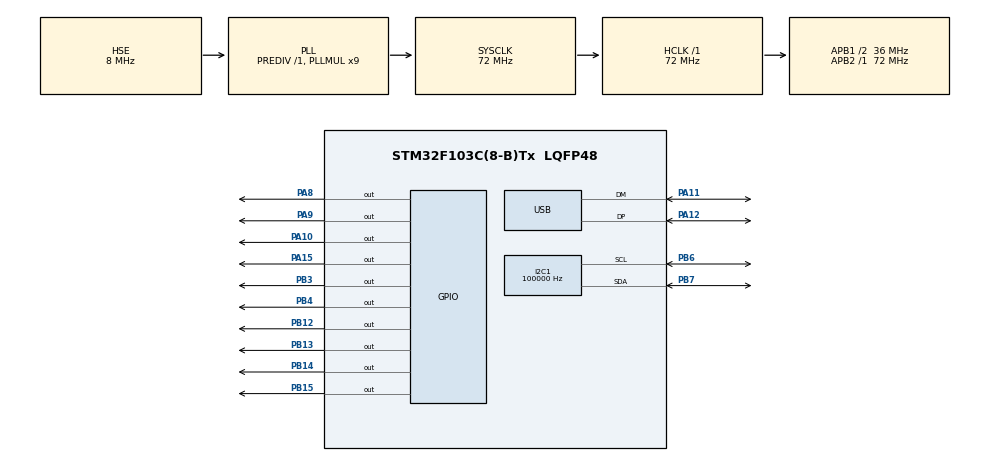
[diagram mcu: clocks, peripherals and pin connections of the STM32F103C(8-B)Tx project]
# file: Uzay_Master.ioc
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I2C1.ClockSpeed=100000
I2C1.I2C_Mode=I2C_Standard
Mcu.Family=STM32F1
Mcu.Name=STM32F103C(8-B)Tx
Mcu.Package=LQFP48
NVIC.I2C1_ER_IRQn=true\:0\:0\:false\:false\:true\:true\:true\:true
NVIC.I2C1_EV_IRQn=true\:0\:0\:false\:false\:true\:true\:true\:true
NVIC.PriorityGroup=NVIC_PRIORITYGROUP_4
NVIC.USB_LP_CAN1_RX0_IRQn=true\:0\:0\:false\:false\:true\:false\:true\:true
PA10.Signal=GPIO_Output
PA11.Mode=Device
PA11.Signal=USB_DM
PA12.Mode=Device
PA12.Signal=USB_DP
PA13.Mode=Serial_Wire
PA13.Signal=SYS_JTMS-SWDIO
PA14.Mode=Serial_Wire
PA14.Signal=SYS_JTCK-SWCLK
PA15.Signal=GPIO_Output
PA8.Signal=GPIO_Output
PA9.Signal=GPIO_Output
PB12.Signal=GPIO_Output
PB13.Signal=GPIO_Output
PB14.Signal=GPIO_Output
PB15.Signal=GPIO_Output
PB3.Signal=GPIO_Output
PB4.Signal=GPIO_Output
PB6.Mode=I2C
PB6.Signal=I2C1_SCL
PB7.Mode=I2C
PB7.Signal=I2C1_SDA
PD0-OSC_IN.Mode=HSE-External-Oscillator
PD0-OSC_IN.Signal=RCC_OSC_IN
PD1-OSC_OUT.Mode=HSE-External-Oscillator
PD1-OSC_OUT.Signal=RCC_OSC_OUT
ProjectManager.HeapSize=0x200
ProjectManager.StackSize=0x400
ProjectManager.TargetToolchain=STM32CubeIDE
RCC.AHBFreq_Value=72000000
RCC.APB1CLKDivider=RCC_HCLK_DIV2
RCC.APB1Freq_Value=36000000
RCC.APB1TimFreq_Value=72000000
RCC.APB2Freq_Value=72000000
RCC.APB2TimFreq_Value=72000000
RCC.HCLKFreq_Value=72000000
RCC.PLLMUL=RCC_PLL_MUL9
RCC.SYSCLKFreq_VALUE=72000000
RCC.SYSCLKSource=RCC_SYSCLKSOURCE_PLLCLK
RCC.USBFreq_Value=48000000
RCC.USBPrescaler=RCC_USBCLKSOURCE_PLL_DIV1_5
USB_DEVICE.CLASS_NAME_FS=CDC
USB_DEVICE.PRODUCT_STRING_CDC_FS=STM32 Virtual Port
USB_DEVICE.VirtualMode=Cdc
USB_DEVICE.VirtualModeFS=Cdc_FS
VP_USB_DEVICE_VS_USB_DEVICE_CDC_FS.Mode=CDC_FS
board=custom

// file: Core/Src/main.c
/* USER CODE BEGIN Header */
/**
 ******************************************************************************
 * @file           : main.c
 * @brief          : Main program body
 ******************************************************************************
 * @attention
 *
 * Copyright (c) 2023 STMicroelectronics.
 * All rights reserved.
 *
 * This software is licensed under terms that can be found in the LICENSE file
 * in the root directory of this software component.
 * If no LICENSE file comes with this software, it is provided AS-IS.
 *
 ******************************************************************************
 */
/* USER CODE END Header */
#include "main.h"
#include "usb_device.h"

/* USER CODE BEGIN Includes */
#include "usbd_cdc_if.h"
#include "string.h"
/* USER CODE END Includes */

/* USER CODE BEGIN PD */
#define I2C_SLAVE1_ADD	0x50
#define I2C_SLAVE2_ADD	0x51
#define I2C_SLAVE3_ADD	0x52
#define I2C_SLAVE4_ADD	0x53
/* USER CODE END PD */

/* USER CODE BEGIN PM */
uint8_t buffer[64];
uint8_t rx_data[10];
uint8_t counter = 0;

/* USER CODE END PM */

I2C_HandleTypeDef hi2c1;

void SystemClock_Config(void);
static void MX_GPIO_Init(void);
static void MX_I2C1_Init(void);
/* USER CODE BEGIN PFP */
//void HAL_I2C_MasterTxCpltCallback (I2C_HandleTypeDef * hi2c)
//{
//  counter++;
//}
/* USER CODE END PFP */

int main(void)
{

  /* MCU Configuration--------------------------------------------------------*/

  /* Reset of all peripherals, Initializes the Flash interface and the Systick. */
  HAL_Init();

  /* Configure the system clock */
  SystemClock_Config();

  /* Initialize all configured peripherals */
  MX_GPIO_Init();
  MX_I2C1_Init();
  MX_USB_DEVICE_Init();
  /* USER CODE BEGIN 2 */
	uint8_t slave1[10] = {0};
	uint8_t slave2[10] = {0};
	uint8_t slave3[10] = {0};
	uint8_t slave4[10] = {0};
  /* USER CODE END 2 */

  /* Infinite loop */
	while (1)
	{

    /* USER CODE BEGIN 3 */
		CDC_Transmit_FS(buffer, 64);
//		HAL_Delay(5);
		//	  if(rx_data[0] == 1){
		//		  HAL_GPIO_WritePin(GPIOB, GPIO_PIN_12, SET);
		//	  }
		//
		//	  else{
		//		  HAL_GPIO_WritePin(GPIOB, GPIO_PIN_12, RESET);
		//	  }
		//	  if(rx_data[1] == 2){
		//	  		  HAL_GPIO_WritePin(GPIOB, GPIO_PIN_13, SET);
		//	  	  }
		//
		//	  	  else{
		//	  		  HAL_GPIO_WritePin(GPIOB, GPIO_PIN_13, RESET);
		//	  	  }
		//	  if(rx_data[2] == 3){
		//	  		  HAL_GPIO_WritePin(GPIOB, GPIO_PIN_14, SET);
		//	  	  }
		//
		//	  	  else{
		//	  		  HAL_GPIO_WritePin(GPIOB, GPIO_PIN_14, RESET);
		//	  	  }
		//	  if(rx_data[3] == 4){
		//	  		  HAL_GPIO_WritePin(GPIOB, GPIO_PIN_15, SET);
		//	  	  }
		//
		//	  	  else{
		//	  		  HAL_GPIO_WritePin(GPIOB, GPIO_PIN_15, RESET);
		//	  	  }
		//	  if(rx_data[4] == 5){
		//	  		  HAL_GPIO_WritePin(GPIOA, GPIO_PIN_8, SET);
		//	  	  }
		//
		//	  	  else{
		//	  		  HAL_GPIO_WritePin(GPIOA, GPIO_PIN_8, RESET);
		//	  	  }
		//	  if(rx_data[5] == 6){
		//	  		  HAL_GPIO_WritePin(GPIOA, GPIO_PIN_9, SET);
		//	  	  }
		//
		//	  	  else{
		//	  		  HAL_GPIO_WritePin(GPIOA, GPIO_PIN_9, RESET);
		//	  	  }
		//	  if(rx_data[6] == 7){
		//	  		  HAL_GPIO_WritePin(GPIOA, GPIO_PIN_10, SET);
		//	  	  }
		//
		//	  	  else{
		//	  		  HAL_GPIO_WritePin(GPIOA, GPIO_PIN_10, RESET);
		//	  	  }
		//	  if(rx_data[7] == 8){
		//	  		  HAL_GPIO_WritePin(GPIOA, GPIO_PIN_15, SET);
		//	  	  }
		//
		//
		//	  	  else{
		//	  		  HAL_GPIO_WritePin(GPIOA, GPIO_PIN_15, RESET);
		//	  	  }
		//	  if(rx_data[8] == 9){
		//	  		  HAL_GPIO_WritePin(GPIOB, GPIO_PIN_3, SET);
		//	  	  }
		//
		//	  	  else{
		//	  		  HAL_GPIO_WritePin(GPIOB, GPIO_PIN_3, RESET);
		//	  	  }
		//	  if(rx_data[9] == 10){
		//	  		  HAL_GPIO_WritePin(GPIOB, GPIO_PIN_4, SET);
		//	  	  }
		//
		//	  	  else{
		//	  		  HAL_GPIO_WritePin(GPIOB, GPIO_PIN_4, RESET);
		//	  	  }

		//	  HAL_I2C_Master_Transmit_IT(&hi2c1, I2C_SLAVE1_ADD << 1, rx_data, sizeof(rx_data));
		//	  HAL_I2C_Master_Transmit_IT(&hi2c1, I2C_SLAVE2_ADD << 1, rx_data, sizeof(rx_data));
		//	  HAL_I2C_Master_Transmit_IT(&hi2c1, I2C_SLAVE3_ADD << 1, rx_data, sizeof(rx_data));
		//	  HAL_I2C_Master_Transmit_IT(&hi2c1, I2C_SLAVE4_ADD << 1, rx_data, sizeof(rx_data));

		for(uint8_t i = 0; i < 10; i++)
		{

			if((rx_data[i]>0) && rx_data[i]<=28)
			{
				slave1[i] = rx_data[i];
			}
			else	slave1[i] = 0;

			if((rx_data[i]>28) && rx_data[i]<=56)
			{
				slave2[i] = rx_data[i] - 28;
			}
			else	slave2[i] = 0;

			if((rx_data[i]>56) && rx_data[i]<=84)
			{
				slave3[i] = rx_data[i] - 56;
			}
			else	slave3[i] = 0;

			if((rx_data[i]>84) && rx_data[i]<=112)
			{
				slave4[i] = rx_data[i] - 84;
			}
			else	slave4[i] = 0;

		}
		HAL_I2C_Master_Transmit_IT(&hi2c1, I2C_SLAVE1_ADD << 1, slave1, sizeof(slave1));
		HAL_Delay(5);
		HAL_I2C_Master_Transmit_IT(&hi2c1, I2C_SLAVE2_ADD << 1, slave2, sizeof(slave2));
		HAL_Delay(5);
		HAL_I2C_Master_Transmit_IT(&hi2c1, I2C_SLAVE3_ADD << 1, slave3, sizeof(slave3));
		HAL_Delay(5);
		HAL_I2C_Master_Transmit_IT(&hi2c1, I2C_SLAVE4_ADD << 1, slave4, sizeof(slave4));
		HAL_Delay(5);
	}
  /* USER CODE END 3 */
}

void SystemClock_Config(void)
{
  RCC_OscInitTypeDef RCC_OscInitStruct = {0};
  RCC_ClkInitTypeDef RCC_ClkInitStruct = {0};
  RCC_PeriphCLKInitTypeDef PeriphClkInit = {0};

  /** Initializes the RCC Oscillators according to the specified parameters
  * in the RCC_OscInitTypeDef structure.
  */
  RCC_OscInitStruct.OscillatorType = RCC_OSCILLATORTYPE_HSE;
  RCC_OscInitStruct.HSEState = RCC_HSE_ON;
  RCC_OscInitStruct.HSEPredivValue = RCC_HSE_PREDIV_DIV1;
  RCC_OscInitStruct.HSIState = RCC_HSI_ON;
  RCC_OscInitStruct.PLL.PLLState = RCC_PLL_ON;
  RCC_OscInitStruct.PLL.PLLSource = RCC_PLLSOURCE_HSE;
  RCC_OscInitStruct.PLL.PLLMUL = RCC_PLL_MUL9;
  if (HAL_RCC_OscConfig(&RCC_OscInitStruct) != HAL_OK)
  {
    Error_Handler();
  }

  /** Initializes the CPU, AHB and APB buses clocks
  */
  RCC_ClkInitStruct.ClockType = RCC_CLOCKTYPE_HCLK|RCC_CLOCKTYPE_SYSCLK
                              |RCC_CLOCKTYPE_PCLK1|RCC_CLOCKTYPE_PCLK2;
  RCC_ClkInitStruct.SYSCLKSource = RCC_SYSCLKSOURCE_PLLCLK;
  RCC_ClkInitStruct.AHBCLKDivider = RCC_SYSCLK_DIV1;
  RCC_ClkInitStruct.APB1CLKDivider = RCC_HCLK_DIV2;
  RCC_ClkInitStruct.APB2CLKDivider = RCC_HCLK_DIV1;

  if (HAL_RCC_ClockConfig(&RCC_ClkInitStruct, FLASH_LATENCY_2) != HAL_OK)
  {
    Error_Handler();
  }
  PeriphClkInit.PeriphClockSelection = RCC_PERIPHCLK_USB;
  PeriphClkInit.UsbClockSelection = RCC_USBCLKSOURCE_PLL_DIV1_5;
  if (HAL_RCCEx_PeriphCLKConfig(&PeriphClkInit) != HAL_OK)
  {
    Error_Handler();
  }
}

static void MX_I2C1_Init(void)
{

  hi2c1.Instance = I2C1;
  hi2c1.Init.ClockSpeed = 100000;
  hi2c1.Init.DutyCycle = I2C_DUTYCYCLE_2;
  hi2c1.Init.OwnAddress1 = 0;
  hi2c1.Init.AddressingMode = I2C_ADDRESSINGMODE_7BIT;
  hi2c1.Init.DualAddressMode = I2C_DUALADDRESS_DISABLE;
  hi2c1.Init.OwnAddress2 = 0;
  hi2c1.Init.GeneralCallMode = I2C_GENERALCALL_DISABLE;
  hi2c1.Init.NoStretchMode = I2C_NOSTRETCH_DISABLE;
  if (HAL_I2C_Init(&hi2c1) != HAL_OK)
  {
    Error_Handler();
  }

}

static void MX_GPIO_Init(void)
{
  GPIO_InitTypeDef GPIO_InitStruct = {0};

  /* GPIO Ports Clock Enable */
  __HAL_RCC_GPIOD_CLK_ENABLE();
  __HAL_RCC_GPIOB_CLK_ENABLE();
  __HAL_RCC_GPIOA_CLK_ENABLE();

  /*Configure GPIO pin Output Level */
  HAL_GPIO_WritePin(GPIOB, GPIO_PIN_12|GPIO_PIN_13|GPIO_PIN_14|GPIO_PIN_15
                          |GPIO_PIN_3|GPIO_PIN_4, GPIO_PIN_RESET);

  /*Configure GPIO pin Output Level */
  HAL_GPIO_WritePin(GPIOA, GPIO_PIN_8|GPIO_PIN_9|GPIO_PIN_10|GPIO_PIN_15, GPIO_PIN_RESET);

  /*Configure GPIO pins : PB12 PB13 PB14 PB15
                           PB3 PB4 */
  GPIO_InitStruct.Pin = GPIO_PIN_12|GPIO_PIN_13|GPIO_PIN_14|GPIO_PIN_15
                          |GPIO_PIN_3|GPIO_PIN_4;
  GPIO_InitStruct.Mode = GPIO_MODE_OUTPUT_PP;
  GPIO_InitStruct.Pull = GPIO_NOPULL;
  GPIO_InitStruct.Speed = GPIO_SPEED_FREQ_LOW;
  HAL_GPIO_Init(GPIOB, &GPIO_InitStruct);

  /*Configure GPIO pins : PA8 PA9 PA10 PA15 */
  GPIO_InitStruct.Pin = GPIO_PIN_8|GPIO_PIN_9|GPIO_PIN_10|GPIO_PIN_15;
  GPIO_InitStruct.Mode = GPIO_MODE_OUTPUT_PP;
  GPIO_InitStruct.Pull = GPIO_NOPULL;
  GPIO_InitStruct.Speed = GPIO_SPEED_FREQ_LOW;
  HAL_GPIO_Init(GPIOA, &GPIO_InitStruct);

}

void Error_Handler(void)
{
	__disable_irq();
	while (1)
	{
	}
}
